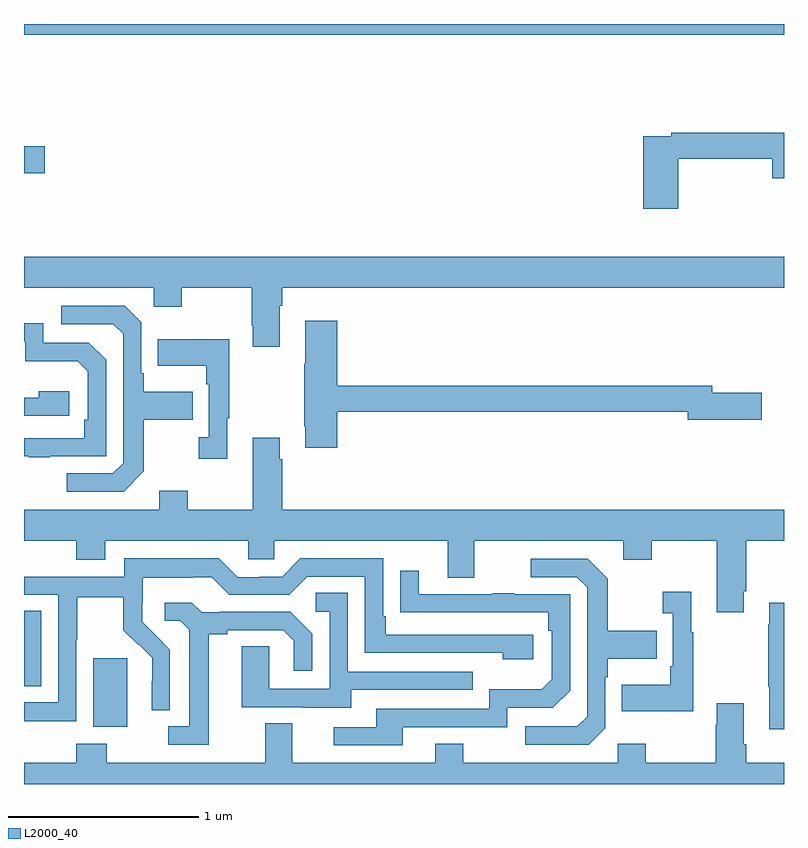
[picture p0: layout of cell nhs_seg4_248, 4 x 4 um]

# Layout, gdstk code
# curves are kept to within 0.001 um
import gdstk
lib = gdstk.Library(unit=1e-6, precision=1e-09)
def R(c, l, rs):  # rectangles x0, y0, x1, y1
    for r in rs: c.add(gdstk.rectangle(r[:2], r[2:], *l))
def P(c, l, *ps):  # polygons
    for p in ps: c.add(gdstk.Polygon(p, *l))
L2000_40 = (2000, 40)

nhs_seg4_248 = lib.new_cell('nhs_seg4_248')
R(nhs_seg4_248, L2000_40, [(123.365,769.202,123.544,769.563), (123,769.414,123.091,769.811), (123,772.114,123.109,772.256), (123,772.844,127,772.9)])
P(nhs_seg4_248, L2000_40, [(126.443,772.192),(126.938,772.192),(126.938,772.088),(127,772.088),(127,772.328),(126.406,772.328),(126.406,772.308),(126.26,772.308),(126.26,771.927),(126.443,771.927)],
  [(124.345,771.416),(124.358,771.416),(124.358,771.512),(127,771.512),(127,771.676),(123,771.676),(123,771.512),(123.684,771.512),(123.684,771.413),(123.831,771.413),(123.831,771.512),(124.198,771.512),(124.198,771.313),(124.205,771.313),(124.205,771.201),(124.345,771.201)],
  [(123.631,770.545),(123.631,770.818),(123.887,770.818),(123.887,770.965),(123.631,770.965),(123.631,771.061),(123.618,771.061),(123.618,771.33),(123.531,771.417),(123.195,771.417),(123.195,771.321),(123.471,771.321),(123.522,771.27),(123.522,770.589),(123.468,770.535),(123.225,770.535),(123.225,770.439),(123.525,770.439)],
  [(124.649,770.86),(126.494,770.86),(126.494,770.818),(126.883,770.818),(126.883,770.96),(126.622,770.96),(126.622,770.996),(124.649,770.996),(124.649,771.337),(124.481,771.337),(124.481,771.113),(124.474,771.113),(124.474,770.782),(124.481,770.782),(124.481,770.67),(124.649,770.67)],
  [(123.137,770.625),(123.432,770.625),(123.432,771.132),(123.342,771.222),(123.102,771.222),(123.102,771.324),(123,771.324),(123,771.228),(123.006,771.228),(123.006,771.125),(123.283,771.125),(123.336,771.072),(123.336,770.818),(123.316,770.818),(123.316,770.721),(123,770.721),(123,770.625),(123.025,770.625),(123.025,770.62),(123.137,770.62)],
  [(124.069,770.825),(124.081,770.825),(124.081,771.241),(123.703,771.241),(123.703,771.101),(123.96,771.101),(123.96,771.005),(123.972,771.005),(123.972,770.726),(123.921,770.726),(123.921,770.613),(124.069,770.613)],
  [(123.238,770.968),(123.077,770.968),(123.077,770.934),(123,770.934),(123,770.838),(123.238,770.838)],
  [(126.787,769.915),(126.8,769.915),(126.8,770.18),(127,770.18),(127,770.344),(124.358,770.344),(124.358,770.609),(124.345,770.609),(124.345,770.722),(124.205,770.722),(124.205,770.344),(123.861,770.344),(123.861,770.443),(123.713,770.443),(123.713,770.344),(123,770.344),(123,770.18),(123.275,770.18),(123.275,770.081),(123.427,770.081),(123.427,770.18),(124.179,770.18),(124.179,770.082),(124.317,770.082),(124.317,770.18),(125.231,770.18),(125.231,769.986),(125.371,769.986),(125.371,770.18),(126.155,770.18),(126.155,770.081),(126.303,770.081),(126.303,770.18),(126.647,770.18),(126.647,769.803),(126.787,769.803)],
  [(123.276,769.66),(123.279,769.66),(123.279,769.884),(123.523,769.884),(123.523,769.709),(123.6,769.632),(123.603,769.635),(123.674,769.565),(123.674,769.442),(123.672,769.442),(123.672,769.288),(123.768,769.288),(123.768,769.606),(123.622,769.754),(123.622,769.851),(123.624,769.851),(123.624,769.985),(123.887,769.985),(123.887,769.989),(123.987,769.989),(124.08,769.896),(124.395,769.896),(124.491,769.992),(124.794,769.992),(124.794,769.59),(125.519,769.59),(125.519,769.556),(125.68,769.556),(125.68,769.686),(124.903,769.686),(124.903,769.783),(124.89,769.783),(124.89,770.088),(124.455,770.088),(124.359,769.992),(124.241,769.992),(124.241,769.989),(124.125,769.989),(124.025,770.089),(123.528,770.089),(123.528,769.992),(123,769.992),(123,769.896),(123.18,769.896),(123.18,769.329),(123,769.329),(123,769.231),(123.276,769.231)],
  [(126.06,769.194),(126.06,769.463),(126.073,769.463),(126.073,769.559),(126.329,769.559),(126.329,769.707),(126.073,769.707),(126.073,769.979),(125.967,770.085),(125.667,770.085),(125.667,769.989),(125.91,769.989),(125.964,769.935),(125.964,769.254),(125.913,769.203),(125.637,769.203),(125.637,769.107),(125.973,769.107)],
  [(124.993,769.2),(125.544,769.2),(125.544,769.302),(125.784,769.302),(125.874,769.392),(125.874,769.899),(125.579,769.899),(125.579,769.904),(125.467,769.904),(125.467,769.899),(125.077,769.899),(125.077,770.023),(124.981,770.023),(124.981,769.804),(125.758,769.803),(125.758,769.706),(125.778,769.706),(125.778,769.452),(125.725,769.399),(125.448,769.399),(125.448,769.296),(124.853,769.296),(124.853,769.2),(124.629,769.2),(124.629,769.104),(124.993,769.104)],
  [(126.523,769.699),(126.511,769.699),(126.511,769.912),(126.363,769.912),(126.363,769.799),(126.414,769.799),(126.414,769.519),(126.402,769.519),(126.402,769.423),(126.145,769.423),(126.145,769.283),(126.523,769.283)],
  [(124.723,769.395),(125.363,769.395),(125.363,769.491),(124.704,769.491),(124.704,769.907),(124.536,769.907),(124.536,769.806),(124.608,769.806),(124.608,769.401),(124.29,769.401),(124.29,769.625),(124.145,769.625),(124.145,769.305),(124.469,769.305),(124.469,769.301),(124.723,769.301)],
  [(123.973,769.688),(124.069,769.688),(124.069,769.71),(124.364,769.71),(124.421,769.653),(124.421,769.497),(124.518,769.497),(124.518,769.69),(124.402,769.806),(124.03,769.806),(124.03,769.803),(123.936,769.803),(123.884,769.855),(123.741,769.855),(123.741,769.758),(123.822,769.758),(123.869,769.711),(123.869,769.203),(123.759,769.203),(123.759,769.107),(123.973,769.107)],
  [(127,769.855),(126.923,769.855),(126.923,769.742),(126.916,769.742),(126.916,769.411),(126.923,769.411),(126.923,769.188),(127,769.188)],
  [(127,769.012),(126.8,769.012),(126.8,769.108),(126.787,769.108),(126.787,769.324),(126.647,769.324),(126.647,769.211),(126.64,769.211),(126.64,769.012),(126.273,769.012),(126.273,769.111),(126.126,769.111),(126.126,769.012),(125.313,769.012),(125.313,769.111),(125.165,769.111),(125.165,769.012),(124.411,769.012),(124.411,769.22),(124.271,769.22),(124.271,769.012),(123.435,769.012),(123.435,769.111),(123.275,769.111),(123.275,769.012),(123,769.012),(123,768.9),(127,768.9)])

lib.write_gds('nhs_seg4_248.gds')
